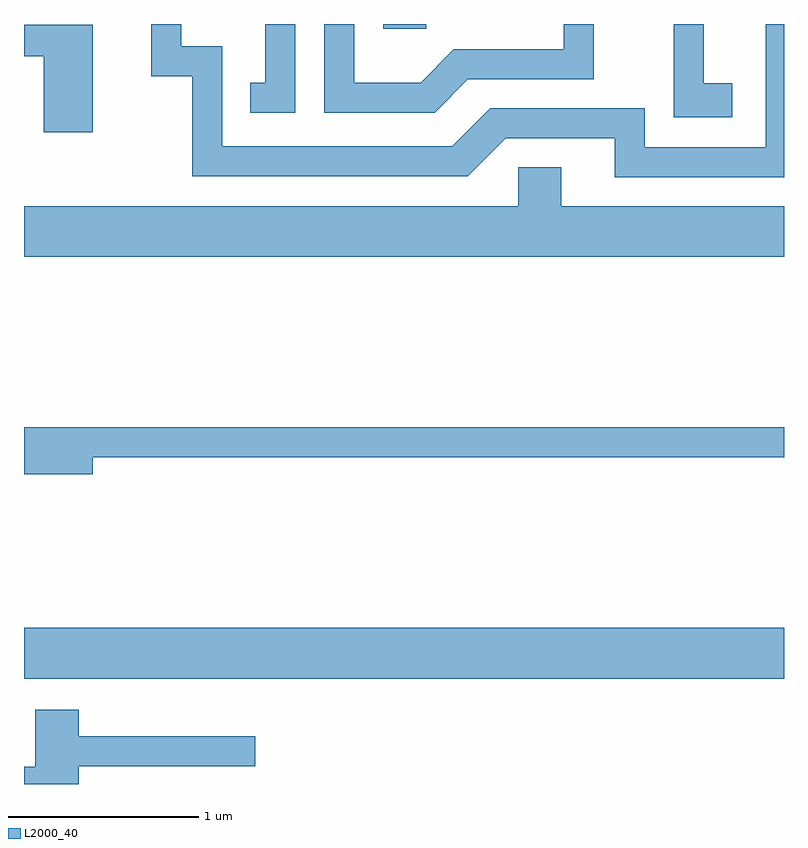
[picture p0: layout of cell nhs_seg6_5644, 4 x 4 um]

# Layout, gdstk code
import gdstk
lib = gdstk.Library(unit=1e-6, precision=1e-09)
def R(c, l, rs):  # rectangles x0, y0, x1, y1
    for r in rs: c.add(gdstk.rectangle(r[:2], r[2:], *l))
def P(c, l, *ps):  # polygons
    for p in ps: c.add(gdstk.Polygon(p, *l))
L2000_40 = (2000, 40)

nhs_seg6_5644 = lib.new_cell('nhs_seg6_5644')
R(nhs_seg6_5644, L2000_40, [(357.611,1536.716,361.611,1536.984), (359.501,1540.136,359.729,1540.162)])
P(nhs_seg6_5644, L2000_40, [(361.339,1539.849),(361.189,1539.849),(361.189,1540.162),(361.031,1540.162),(361.031,1539.671),(361.339,1539.671)],
  [(359.039,1540.162),(358.881,1540.162),(358.881,1539.854),(358.803,1539.854),(358.803,1539.696),(359.039,1539.696)],
  [(359.947,1539.871),(360.609,1539.871),(360.609,1540.162),(360.451,1540.162),(360.451,1540.029),(359.874,1540.029),(359.699,1539.854),(359.349,1539.854),(359.349,1540.162),(359.191,1540.162),(359.191,1539.696),(359.772,1539.696)],
  [(361.611,1540.162),(361.516,1540.162),(361.516,1539.514),(360.879,1539.514),(360.879,1539.719),(360.064,1539.719),(359.864,1539.519),(358.654,1539.519),(358.654,1540.044),(358.439,1540.044),(358.439,1540.162),(358.281,1540.162),(358.281,1539.886),(358.496,1539.886),(358.496,1539.361),(359.947,1539.361),(360.147,1539.561),(360.721,1539.561),(360.721,1539.356),(361.611,1539.356)],
  [(357.974,1540.159),(357.611,1540.159),(357.611,1539.991),(357.716,1539.991),(357.716,1539.591),(357.974,1539.591)],
  [(361.611,1539.204),(360.439,1539.204),(360.439,1539.409),(360.211,1539.409),(360.211,1539.204),(357.611,1539.204),(357.611,1538.936),(361.611,1538.936)],
  [(357.974,1537.881),(361.611,1537.881),(361.611,1538.039),(357.611,1538.039),(357.611,1537.791),(357.974,1537.791)],
  [(357.899,1536.256),(358.828,1536.256),(358.828,1536.414),(357.899,1536.414),(357.899,1536.554),(357.671,1536.554),(357.671,1536.254),(357.611,1536.254),(357.611,1536.162),(357.899,1536.162)])

lib.write_gds('nhs_seg6_5644.gds')
